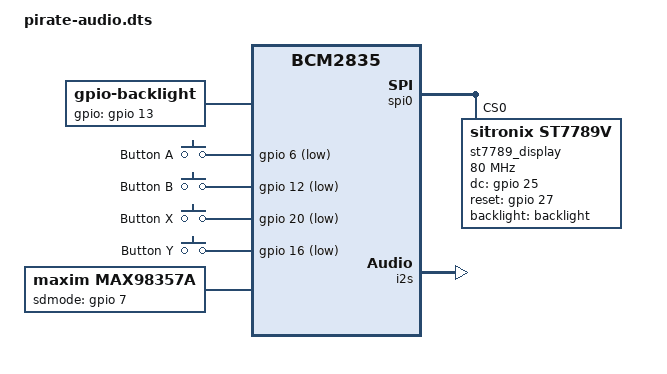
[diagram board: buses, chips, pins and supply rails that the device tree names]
/dts-v1/;
/plugin/;

/ {
    compatible = "brcm,bcm2835";

    /* ST7789 SPI display */
    fragment@0 {
        target = <&spi0>;
        __overlay__ {
            #address-cells = <1>;
            #size-cells = <0>;
            status = "okay";

            st7789_display: display@0 {
                compatible = "sitronix,st7789v";
                reg = <0>;
                spi-max-frequency = <80000000>;
                dc-gpios = <&gpio 25 0>;
                reset-gpios = <&gpio 27 0>;
                rotation = <90>;
                backlight = <&backlight>;
            };
        };
    };

    /* GPIO backlight for ST7789 */
    fragment@4 {
        target-path = "/";
        __overlay__ {
            backlight: backlight {
                compatible = "gpio-backlight";
                gpios = <&gpio 13 0>;
                default-on;
            };
        };
    };

    /* GPIO buttons */
    fragment@1 {
        target-path = "/";
        __overlay__ {
            gpio_keys: gpio-keys {
                compatible = "gpio-keys";

                button_a {
                    label = "Button A";
                    gpios = <&gpio 6 1>;
                    linux,code = <0x130>; /* BTN_A */
                };

                button_b {
                    label = "Button B";
                    gpios = <&gpio 12 1>;
                    linux,code = <0x131>; /* BTN_B */
                };

                button_x {
                    label = "Button X";
                    gpios = <&gpio 20 1>;
                    linux,code = <0x132>; /* BTN_C */
                };

                button_y {
                    label = "Button Y";
                    gpios = <&gpio 16 1>;
                    linux,code = <0x133>; /* BTN_D */
                };
            };
        };
    };

    /* MAX98357A I2S amplifier */
    fragment@2 {
        target = <&i2s>;
        __overlay__ {
            status = "okay";
        };
    };

    fragment@3 {
        target-path = "/";
        __overlay__ {
            max98357a: codec@0 {
                compatible = "maxim,max98357a";
                #sound-dai-cells = <0>;
                sdmode-gpios = <&gpio 7 0>;
            };

            sound {
                compatible = "simple-audio-card";
                simple-audio-card,name = "Pirate Audio";

                simple-audio-card,cpu {
                    sound-dai = <&i2s>;
                };

                simple-audio-card,codec {
                    sound-dai = <&max98357a>;
                };
            };
        };
    };
};
